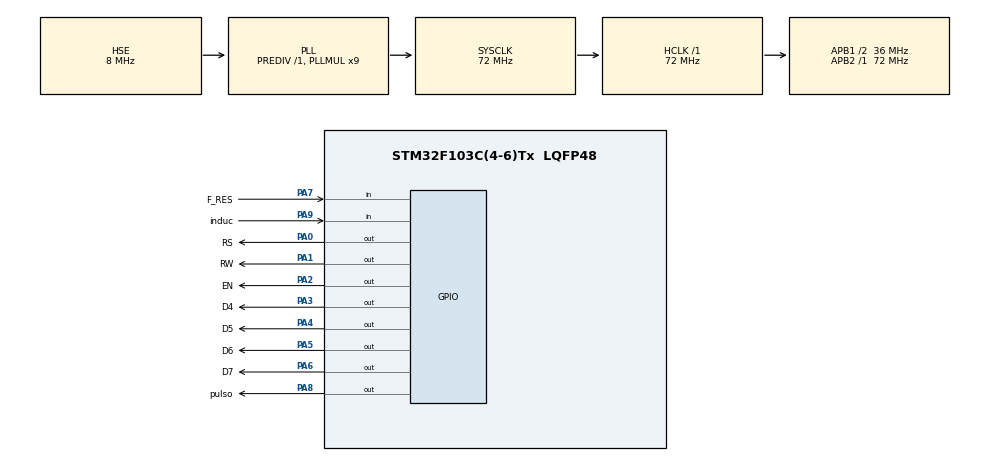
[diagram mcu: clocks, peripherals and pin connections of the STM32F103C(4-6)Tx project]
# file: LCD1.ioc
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Mcu.Family=STM32F1
Mcu.Name=STM32F103C(4-6)Tx
Mcu.Package=LQFP48
NVIC.PriorityGroup=NVIC_PRIORITYGROUP_4
PA0-WKUP.GPIO_Label=RS
PA0-WKUP.Signal=GPIO_Output
PA1.GPIO_Label=RW
PA1.Signal=GPIO_Output
PA13.Mode=Serial_Wire
PA13.Signal=SYS_JTMS-SWDIO
PA14.Mode=Serial_Wire
PA14.Signal=SYS_JTCK-SWCLK
PA2.GPIO_Label=EN
PA2.Signal=GPIO_Output
PA3.GPIO_Label=D4
PA3.Signal=GPIO_Output
PA4.GPIO_Label=D5
PA4.Signal=GPIO_Output
PA5.GPIO_Label=D6
PA5.Signal=GPIO_Output
PA6.GPIO_Label=D7
PA6.Signal=GPIO_Output
PA7.GPIO_Label=F_RES
PA7.Signal=GPIO_Input
PA8.GPIO_Label=pulso
PA8.Signal=GPIO_Output
PA9.GPIO_Label=induc
PA9.Signal=GPIO_Input
PD0-OSC_IN.Mode=HSE-External-Oscillator
PD0-OSC_IN.Signal=RCC_OSC_IN
PD1-OSC_OUT.Mode=HSE-External-Oscillator
PD1-OSC_OUT.Signal=RCC_OSC_OUT
ProjectManager.HeapSize=0x200
ProjectManager.StackSize=0x400
ProjectManager.TargetToolchain=STM32CubeIDE
RCC.AHBFreq_Value=72000000
RCC.APB1CLKDivider=RCC_HCLK_DIV2
RCC.APB1Freq_Value=36000000
RCC.APB1TimFreq_Value=72000000
RCC.APB2Freq_Value=72000000
RCC.APB2TimFreq_Value=72000000
RCC.HCLKFreq_Value=72000000
RCC.PLLMUL=RCC_PLL_MUL9
RCC.PLLSourceVirtual=RCC_PLLSOURCE_HSE
RCC.SYSCLKFreq_VALUE=72000000
RCC.SYSCLKSource=RCC_SYSCLKSOURCE_PLLCLK
RCC.USBFreq_Value=72000000
board=custom

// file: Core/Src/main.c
/* USER CODE BEGIN Header */
/**
  ******************************************************************************
  * @file           : main.c
  * @brief          : Main program body
  ******************************************************************************
  * @attention
  *
  * <h2><center>&copy; Copyright (c) 2022 STMicroelectronics.
  * All rights reserved.</center></h2>
  *
  * This software component is licensed by ST under BSD 3-Clause license,
  * the "License"; You may not use this file except in compliance with the
  * License. You may obtain a copy of the License at:
  *                        opensource.org/licenses/BSD-3-Clause
  *
  ******************************************************************************
  */
/* USER CODE END Header */

#include "main.h"

/* USER CODE BEGIN PV */
unsigned long long a=0,b=0,token1=0x16C09C19; //Token original de referencia
char cambio=0;
/* USER CODE END PV */

void SystemClock_Config(void);
static void MX_GPIO_Init(void);
/* USER CODE BEGIN PFP */
void fx(unsigned char cmd, char rs);
void initlcd();
void lcd_clear();
void lcd_put_cur(char row, char col);
void lcd_send_string (char *str);
void lcd_send_char(unsigned long long xx);
/* USER CODE END PFP */

int main(void)
{

  /* MCU Configuration--------------------------------------------------------*/

  /* Reset of all peripherals, Initializes the Flash interface and the Systick. */
  HAL_Init();

  /* Configure the system clock */
  SystemClock_Config();

  /* Initialize all configured peripherals */
  MX_GPIO_Init();
  /* USER CODE BEGIN 2 */
  initlcd(); // Inicializar el LCD
  lcd_clear(); //Limpiar por completo el LCD
  /* USER CODE END 2 */

  /* Infinite loop */
  /* USER CODE BEGIN WHILE */
  while (1)
  {
	  if(cambio==0) // Condición que mantiene en el inicio
	  {
		  if(0==(HAL_GPIO_ReadPin(F_RES_GPIO_Port, F_RES_Pin))) //Lectura del estado de la fotoresistencia
			  	  	  	  	  	  	  	  	  	  	  	  	  	// Comparacion para seguir esperando sincronización o activar el conteo de 30 seg
		  {
			  lcd_put_cur(0, 3);
			  lcd_send_string("ESPERANDO");			//Impresion de espera de sincronización
			  lcd_put_cur(1, 1);					//            --
			  lcd_send_string("SINCRONIZACION");	//            --
		  }
		  else
		  {
			  lcd_clear();
			  lcd_send_string("SINCRONIZADO");     //Ejecucion de inicio del conteo de 30 seg
			  HAL_Delay(1000);
			  lcd_clear();
			  cambio=1;								// Salida del bucle de sincronización
		  }
	  }
	  else
	  {
		  if(cambio==1)		//Impresión del titulo "Token Temporal"
		  {
			  lcd_put_cur(0,1);
			  lcd_send_string("TOKEN TEMPORAL");
		  }
		  lcd_put_cur(1,4); //Posisiconamiento del token
		  lcd_send_char(token1^((cambio-1)*30000)); //Funcion para generación de un nuevo token cada 30 seg dependiendo de la cantidad de ciclos pasados
		  for(a=0;a<30;a++)			//Conteo de 30 segundos
		  {
			  for(b=0;b<495;b++)
			  {
				  HAL_Delay(1);
			  }
			  b=0;
		  }
		  a=0;		// Reinicio del reloj
		  cambio++; //Aumento de 1 en los ciclos de 30 seg.
	  }

    /* USER CODE END WHILE */

  }
}

void SystemClock_Config(void)
{
  RCC_OscInitTypeDef RCC_OscInitStruct = {0};
  RCC_ClkInitTypeDef RCC_ClkInitStruct = {0};

  /** Initializes the CPU, AHB and APB busses clocks
  */
  RCC_OscInitStruct.OscillatorType = RCC_OSCILLATORTYPE_HSE;
  RCC_OscInitStruct.HSEState = RCC_HSE_ON;
  RCC_OscInitStruct.HSEPredivValue = RCC_HSE_PREDIV_DIV1;
  RCC_OscInitStruct.HSIState = RCC_HSI_ON;
  RCC_OscInitStruct.PLL.PLLState = RCC_PLL_ON;
  RCC_OscInitStruct.PLL.PLLSource = RCC_PLLSOURCE_HSE;
  RCC_OscInitStruct.PLL.PLLMUL = RCC_PLL_MUL9;
  if (HAL_RCC_OscConfig(&RCC_OscInitStruct) != HAL_OK)
  {
    Error_Handler();
  }
  /** Initializes the CPU, AHB and APB busses clocks
  */
  RCC_ClkInitStruct.ClockType = RCC_CLOCKTYPE_HCLK|RCC_CLOCKTYPE_SYSCLK
                              |RCC_CLOCKTYPE_PCLK1|RCC_CLOCKTYPE_PCLK2;
  RCC_ClkInitStruct.SYSCLKSource = RCC_SYSCLKSOURCE_PLLCLK;
  RCC_ClkInitStruct.AHBCLKDivider = RCC_SYSCLK_DIV1;
  RCC_ClkInitStruct.APB1CLKDivider = RCC_HCLK_DIV2;
  RCC_ClkInitStruct.APB2CLKDivider = RCC_HCLK_DIV1;

  if (HAL_RCC_ClockConfig(&RCC_ClkInitStruct, FLASH_LATENCY_2) != HAL_OK)
  {
    Error_Handler();
  }
}

static void MX_GPIO_Init(void)
{
  GPIO_InitTypeDef GPIO_InitStruct = {0};

  /* GPIO Ports Clock Enable */
  __HAL_RCC_GPIOD_CLK_ENABLE();
  __HAL_RCC_GPIOA_CLK_ENABLE();

  /*Configure GPIO pin Output Level */
  HAL_GPIO_WritePin(GPIOA, RS_Pin|RW_Pin|EN_Pin|D4_Pin
                          |D5_Pin|D6_Pin|D7_Pin|pulso_Pin, GPIO_PIN_RESET);

  /*Configure GPIO pins : RS_Pin RW_Pin EN_Pin D4_Pin
                           D5_Pin D6_Pin D7_Pin pulso_Pin */
  GPIO_InitStruct.Pin = RS_Pin|RW_Pin|EN_Pin|D4_Pin
                          |D5_Pin|D6_Pin|D7_Pin|pulso_Pin;
  GPIO_InitStruct.Mode = GPIO_MODE_OUTPUT_PP;
  GPIO_InitStruct.Pull = GPIO_NOPULL;
  GPIO_InitStruct.Speed = GPIO_SPEED_FREQ_LOW;
  HAL_GPIO_Init(GPIOA, &GPIO_InitStruct);

  /*Configure GPIO pins : F_RES_Pin induc_Pin */
  GPIO_InitStruct.Pin = F_RES_Pin|induc_Pin;
  GPIO_InitStruct.Mode = GPIO_MODE_INPUT;
  GPIO_InitStruct.Pull = GPIO_NOPULL;
  HAL_GPIO_Init(GPIOA, &GPIO_InitStruct);

}

/* USER CODE BEGIN 4 */

void fx(unsigned char cmd,char rs) //Funcion para enviar un comando o dato a la LCD
{
	unsigned char t1,i,t2;
		HAL_GPIO_WritePin(RS_GPIO_Port,RS_Pin, rs);
		t1=(cmd>>4)&0x0F;
			for(i=0;i<4;i++){
				t2=t1&0x01;
				switch(i){
				case 0:
					HAL_GPIO_WritePin(D4_GPIO_Port, D4_Pin, t2);
				break;
				case 1:
					HAL_GPIO_WritePin(D5_GPIO_Port, D5_Pin, t2);
				break;
				case 2:
					HAL_GPIO_WritePin(D6_GPIO_Port, D6_Pin,t2);
				break;
				case 3:
					HAL_GPIO_WritePin(D7_GPIO_Port, D7_Pin, t2);
				break;
				}
				t1=t1>>1;
			}
			HAL_GPIO_WritePin(EN_GPIO_Port,EN_Pin, 1);
				HAL_Delay(2);
			HAL_GPIO_WritePin(EN_GPIO_Port,EN_Pin, 0);
				HAL_Delay(1);
				t1=cmd&0x0F;
				i=0;
				for(i;i<4;i++){
						t2=(t1)&0x01;
						switch(i){
						case 0:
						HAL_GPIO_WritePin(D4_GPIO_Port, D4_Pin, t2);
						       break;
						case 1:
								HAL_GPIO_WritePin(D5_GPIO_Port, D5_Pin, t2);
								break;
						case 2:
								HAL_GPIO_WritePin(D6_GPIO_Port, D6_Pin,t2);
								break;
						case 3:
								HAL_GPIO_WritePin(D7_GPIO_Port, D7_Pin, t2);
								break;
						}
						t1=t1>>1;
					}
					HAL_GPIO_WritePin(EN_GPIO_Port,EN_Pin, 1);
						HAL_Delay(2);
					HAL_GPIO_WritePin(EN_GPIO_Port,EN_Pin, 0);
						HAL_Delay(1);
}

void initlcd() // Funcion de incialización del LC por un conjunto de comandos
{
	HAL_Delay(40);
	fx(0x28,0);
	HAL_Delay(2);
	fx(0x01,0);
	HAL_Delay(2);
	fx(0x02,0);
	HAL_Delay(2);
	fx(0x0C,0);
	HAL_Delay(2);
	fx(0x06,0);
	HAL_Delay(2);
	fx(0x80,0);
	HAL_Delay(2);
}

void lcd_clear() //Funcion para limpiar el LCD
{
	fx(0x01,0);
	HAL_Delay(2);
}

void lcd_put_cur(char row, char col) // Funcion para posicionarse en una fila y columna especifica
{
	if(row==0)
	{
		col|=0x80;
	}
	else
	{
		col|=0xC0;
	}
    fx(col,0);
}

void lcd_send_string (char *str) //Funcion para enviar una cadena de char (String) en la pantalla LCD
{
	while (*str) fx(*str++,1);
}

void lcd_send_char(unsigned long long xx) //Funcion para enviar un numero de cualquier tamaño a la LC en formato Hexadecimal
{
	char temp=0,i=0;

	for(i;i<8;i++)
	{
		temp=(xx>>(28-(4*i)))&0xF;
		if(temp<10)
		{
			temp=temp+48;
		}
		else
		{
			temp=temp+55;
		}
		fx(temp,1);
	}
}
/* USER CODE END 4 */

void Error_Handler(void)
{
}

/************************ (C) COPYRIGHT STMicroelectronics *****END OF FILE****/
